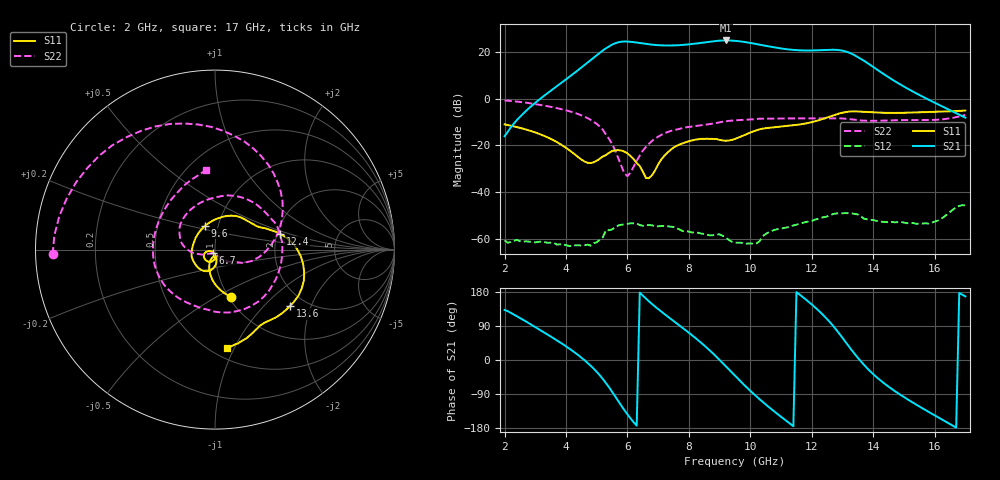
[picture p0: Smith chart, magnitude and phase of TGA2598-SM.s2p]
!File name = TGA2598-SM-SN011_25C_25V100mA.s2p
!Base file name = TGA2598-SM-SN011_25C
!Date = 5/3/2014
!Time = 12:47 PM
!Test duration(min) = 0.09
!Test = SPars
!MPTS version = 7.123
!Comments =
!set_Vg(v) = -5.000
!set_Vd(v) = 25.000
!set_vd(mA) = 100.000
!test = SPars
!date_code = 20140503
!file_name = TGA2598-SM-SN011_25C_25V100mA.s2p
!SN = 011
!Temp = 25C
!Vg(V) = -2.594
!Vg(mA) = -0.001
!Vd(V) = 25.000
!Vd(mA) = 100.223
!Temperature(V) = 0.021
# GHz  S  DB  R  50
!%	Freq(GHz)  S11(dB)  S11(deg)  S21(dB)  S21(deg)  S12(dB)  S12(deg)  S22(dB)  S22(deg)
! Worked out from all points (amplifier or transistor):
!   151 points, 2 GHz to 17 GHz, reference 50 ohm
!   highest |S21| = 24.9 dB at 9.2 GHz (marker M1)
!   |S21| within 3 dB of that: 5.343 GHz to 10.8 GHz (5.455 GHz wide, 67.6 % of centre)
!   unconditionally stable (mu >= 1): start of sweep to end of sweep
!   at 4.5 GHz: K = 123.59, MAG = 14.2 dB, |S12| = -63.0 dB
!   at 9.5 GHz: K = 30.70, MAG = 25.3 dB, |S12| = -61.7 dB
!   at 17 GHz: K = 139.07, MAG = -5.7 dB, |S12| = -45.8 dB
!   S11 on the Smith chart (normalised r, x): 2 GHz: 1.03, -0.59; 6.7 GHz: 0.98, -0.03; 9.6 GHz: 0.87, +0.24; 12.4 GHz: 2.08, +0.43; 13.6 GHz: 1.66, -1.43; 17 GHz: 0.60, -0.94
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2  -11.06 -71.2  -16.15 132.0  -60.72 98.2  -0.87 -178.3
4.5  -26.15 -109.2  13.29 6.3  -63.00 71.6  -7.21 30.1
5.2  -24.79 -94.7  20.62 -50.4  -59.38 99.4  -13.41 -17.5
5.7  -22.12 -131.4  24.07 -108.4  -54.38 73.2  -25.58 -57.3
6.1  -24.66 -162.6  24.28 -154.3  -53.47 49.9  -31.73 -130.7
6.7  -34.10 -122.4  23.20 154.7  -54.20 24.1  -19.37 -167.7
7  -28.16 -81.9  22.84 134.3  -54.71 13.9  -16.32 -179.9
7.6  -20.26 -92.3  22.79 96.7  -55.51 -14.8  -13.29 156.0
8.2  -17.63 -113.3  23.49 58.9  -57.33 -33.3  -11.81 126.3
8.8  -17.28 -153.2  24.52 16.0  -58.51 -67.5  -10.71 89.0
9.2  -18.10 160.6  24.87 -16.6  -59.52 -122.6  -9.74 63.7
9.5  -17.34 123.5  24.71 -41.6  -61.72 -163.0  -9.34 47.5
9.6  -16.80 112.1  24.59 -49.8  -61.72 -179.7  -9.27 43.1
10.1  -14.05 70.8  23.57 -88.9  -62.15 108.5  -8.89 27.3
10.7  -12.40 42.7  22.09 -130.7  -56.67 56.7  -8.59 15.1
12  -10.11 21.7  20.58 146.5  -52.40 -29.8  -8.51 -7.7
12.4  -8.56 13.6  20.79 116.2  -50.78 -53.0  -8.48 -22.0
12.8  -6.77 0.1  20.84 79.4  -49.22 -78.5  -8.45 -43.4
13.1  -5.80 -14.3  20.16 47.4  -49.08 -99.4  -8.65 -63.8
13.6  -5.64 -36.9  16.96 -3.7  -50.52 -133.4  -9.42 -95.5
14.5  -6.16 -56.2  9.10 -70.5  -52.99 -144.9  -9.37 -133.6
17  -5.16 -82.8  -8.21 167.8  -45.78 169.6  -7.00 96.4
